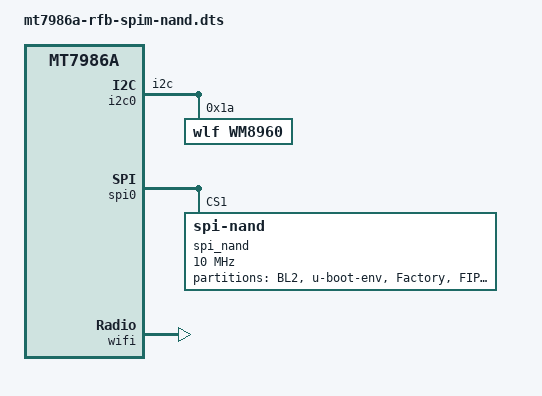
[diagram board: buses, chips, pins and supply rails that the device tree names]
/* SPDX-License-Identifier: (GPL-2.0-only OR MIT) */

#include "mt7986a-rfb.dtsi"

/ {
	compatible = "mediatek,mt7986a-rfb-snand";

	sound_wm8960 {
		compatible = "mediatek,mt7986-wm8960-sound";
		audio-routing = "Headphone", "HP_L",
				"Headphone", "HP_R",
				"LINPUT1", "AMIC",
				"RINPUT1", "AMIC";

		status = "okay";

		platform {
			sound-dai = <&afe>;
		};

		codec {
			sound-dai = <&wm8960>;
		};
	};
};

&i2c0 {
	pinctrl-names = "default";
	pinctrl-0 = <&i2c_pins>;
	status = "okay";

	wm8960: wm8960@1a {
		compatible = "wlf,wm8960";
		#sound-dai-cells = <0>;
		reg = <0x1a>;
	};
};

&spi0 {
	status = "okay";

	spi_nand: spi_nand@1 {
		#address-cells = <1>;
		#size-cells = <1>;
		compatible = "spi-nand";
		reg = <1>;
		spi-max-frequency = <10000000>;
		spi-tx-bus-width = <4>;
		spi-rx-bus-width = <4>;

		partitions {
			compatible = "fixed-partitions";
			#address-cells = <1>;
			#size-cells = <1>;
			partition@0 {
				label = "BL2";
				reg = <0x00000 0x0100000>;
				read-only;
			};
			partition@100000 {
				label = "u-boot-env";
				reg = <0x0100000 0x0080000>;
			};
			factory: partition@180000 {
				label = "Factory";
				reg = <0x180000 0x0200000>;
			};
			partition@380000 {
				label = "FIP";
				reg = <0x380000 0x0200000>;
			};
			partition@580000 {
				label = "ubi";
				reg = <0x580000 0x4000000>;
			};
		};
	};
};

&wifi {
	mediatek,mtd-eeprom = <&factory 0>;
};

&pio {
	i2c_pins: i2c-pins-3-4 {
		mux {
			function = "i2c";
			groups = "i2c";
		};
	};
};

